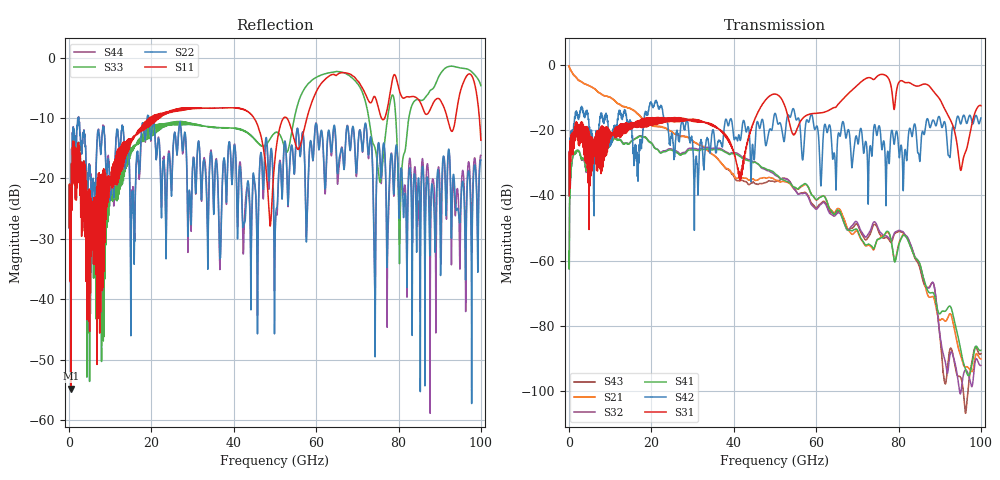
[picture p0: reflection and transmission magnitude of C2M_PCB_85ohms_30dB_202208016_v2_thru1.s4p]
! Info: Touchstone file created by Circ.  Input file=Intel_C2M_200G_13p5in_202208016_staggered.circ
# Hz S RI R 50
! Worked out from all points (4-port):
!   10000 points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, 10 MHz to 100 GHz, reference 50 ohm
!   strongest paths, dB at 10 MHz, 25.01 GHz, 50.01 GHz, 75.01 GHz, 100 GHz:
!     S31: -40.1, -16.4, -8.9, -3.3, -12.5
!     S42: -40.1, -21.8, -14.8, -19.8, -16.3
!     S41: -57.1, -26.2, -33.3, -53.5, -87.5
!     S32: -57.1, -25.8, -33.8, -50.0, -92.2
!     S21: -0.4, -20.6, -35.2, -53.5, -90.2
!     S43: -0.4, -20.5, -35.8, -50.6, -88.6
!   lowest |S11| = -54.8 dB at 480 MHz (marker M1), VSWR 1.00, Z = 50.1 - j0.137 ohm
!   |S11| at or under -10 dB: start of sweep to 19.44 GHz; 44.91 GHz to 52.08 GHz (7.171 GHz wide, 14.8 % of centre); 52.9 GHz to 57.76 GHz (4.858 GHz wide, 8.78 % of centre)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
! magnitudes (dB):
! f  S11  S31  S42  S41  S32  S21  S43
! 10 MHz  -28.0  -40.1  -40.1  -57.1  -57.1  -0.4  -0.4
! 480 MHz  -54.8  -21.5  -20.3  -32.4  -32.4  -1.7  -1.7
! 40.74 GHz  -8.3  -30.5  -22.8  -27.4  -27.0  -34.8  -35.5
! 49.52 GHz  -20.9  -9.0  -17.8  -32.7  -33.2  -34.8  -35.6
! 86.84 GHz  -9.4  -5.9  -16.8  -68.5  -68.2  -69.7  -68.2
! 95.18 GHz  -5.2  -32.3  -18.0  -88.0  -100.1  -89.4  -96.1
! 100 GHz  -13.7  -12.5  -16.3  -87.5  -92.2  -90.2  -88.6
